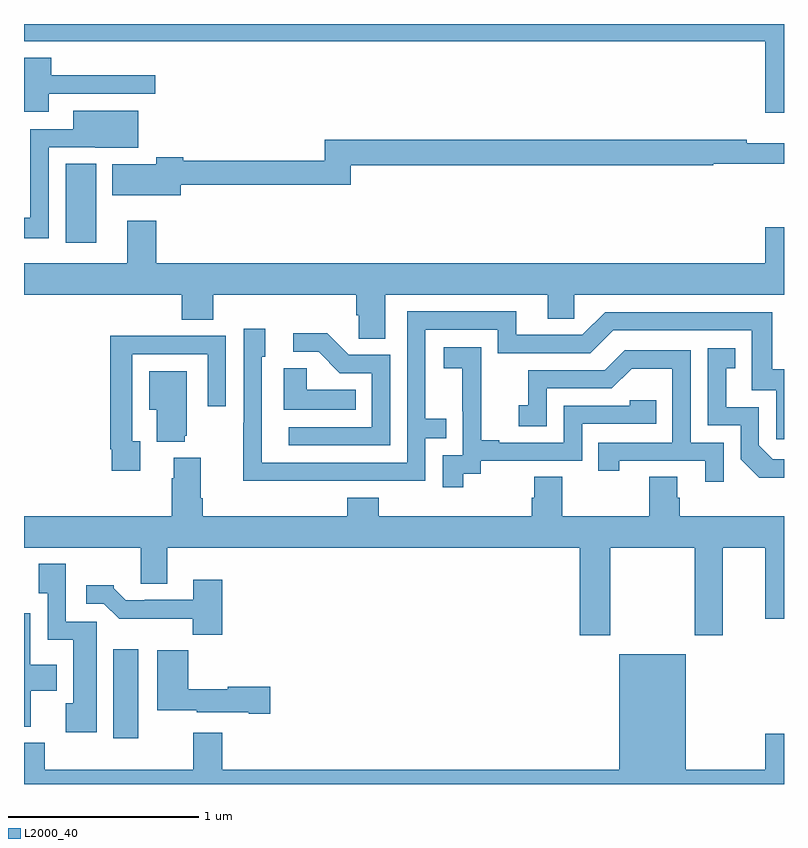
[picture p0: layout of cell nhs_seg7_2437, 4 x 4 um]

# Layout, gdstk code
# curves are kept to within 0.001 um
import gdstk
lib = gdstk.Library(unit=1e-6, precision=1e-09)
def R(c, l, rs):  # rectangles x0, y0, x1, y1
    for r in rs: c.add(gdstk.rectangle(r[:2], r[2:], *l))
def P(c, l, *ps):  # polygons
    for p in ps: c.add(gdstk.Polygon(p, *l))
L2000_40 = (2000, 40)

nhs_seg7_2437 = lib.new_cell('nhs_seg7_2437')
R(nhs_seg7_2437, L2000_40, [(269.471,1038.24,269.602,1038.709), (269.219,1040.85,269.38,1041.265)])
P(nhs_seg7_2437, L2000_40, [(273,1042),(269,1042),(269,1041.908),(272.9,1041.908),(272.9,1041.534),(273,1041.534)],
  [(269.131,1041.633),(269.692,1041.633),(269.692,1041.73),(269.144,1041.73),(269.144,1041.823),(269,1041.823),(269,1041.537),(269.131,1041.537)],
  [(269.13,1041.351),(269.376,1041.351),(269.376,1041.35),(269.602,1041.35),(269.602,1041.544),(269.258,1041.544),(269.258,1041.447),(269.034,1041.447),(269.034,1040.98),(269,1040.98),(269,1040.873),(269.13,1040.873)],
  [(269.824,1041.153),(270.719,1041.153),(270.719,1041.256),(272.627,1041.256),(272.627,1041.264),(273,1041.264),(273,1041.373),(272.804,1041.373),(272.804,1041.392),(270.583,1041.392),(270.583,1041.281),(269.837,1041.281),(269.837,1041.3),(269.695,1041.3),(269.695,1041.262),(269.465,1041.262),(269.465,1041.098),(269.824,1041.098)],
  [(270.901,1040.576),(271.757,1040.576),(271.757,1040.449),(271.896,1040.449),(271.896,1040.576),(273,1040.576),(273,1040.929),(272.9,1040.929),(272.9,1040.74),(269.696,1040.74),(269.696,1040.965),(269.543,1040.965),(269.543,1040.74),(269,1040.74),(269,1040.576),(269.831,1040.576),(269.831,1040.443),(269.996,1040.443),(269.996,1040.576),(270.749,1040.576),(270.749,1040.467),(270.762,1040.467),(270.762,1040.344),(270.901,1040.344)],
  [(270.617,1039.596),(271.113,1039.596),(271.113,1039.821),(271.223,1039.821),(271.223,1039.922),(271.113,1039.922),(271.113,1040.391),(271.494,1040.391),(271.494,1040.268),(271.98,1040.268),(272.1,1040.388),(272.829,1040.388),(272.829,1040.073),(272.958,1040.073),(272.958,1039.815),(273,1039.815),(273,1040.182),(272.938,1040.182),(272.938,1040.484),(272.058,1040.484),(271.938,1040.364),(271.591,1040.364),(271.591,1040.487),(271.017,1040.487),(271.017,1039.692),(270.252,1039.692),(270.252,1040.25),(270.271,1040.25),(270.271,1040.395),(270.156,1040.395),(270.156,1039.901),(270.154,1039.901),(270.154,1039.595)],
  [(270.927,1040.259),(270.708,1040.259),(270.595,1040.372),(270.417,1040.372),(270.417,1040.274),(270.551,1040.274),(270.662,1040.163),(270.831,1040.163),(270.831,1039.878),(270.393,1039.878),(270.393,1039.782),(270.927,1039.782)],
  [(269.611,1039.805),(269.571,1039.805),(269.571,1040.262),(269.967,1040.262),(269.967,1039.989),(270.063,1039.989),(270.063,1040.358),(269.747,1040.358),(269.747,1040.36),(269.455,1040.36),(269.455,1039.762),(269.463,1039.762),(269.463,1039.65),(269.611,1039.65)],
  [(271.312,1039.632),(271.404,1039.632),(271.404,1039.701),(271.938,1039.701),(271.938,1039.896),(272.327,1039.896),(272.327,1040.019),(272.187,1040.019),(272.187,1039.992),(271.842,1039.992),(271.842,1039.797),(271.501,1039.797),(271.501,1039.81),(271.406,1039.81),(271.406,1040.093),(271.407,1040.093),(271.407,1040.299),(271.209,1040.299),(271.209,1040.189),(271.307,1040.189),(271.307,1039.961),(271.308,1039.961),(271.308,1039.731),(271.203,1039.731),(271.203,1039.563),(271.312,1039.563)],
  [(273,1039.71),(272.94,1039.71),(272.868,1039.782),(272.868,1039.983),(272.695,1039.983),(272.695,1040.187),(272.744,1040.187),(272.744,1040.293),(272.598,1040.293),(272.598,1039.887),(272.772,1039.887),(272.772,1039.71),(272.87,1039.613),(273,1039.613)],
  [(272.682,1039.797),(272.508,1039.797),(272.508,1040.283),(272.162,1040.283),(272.057,1040.178),(271.654,1040.178),(271.654,1039.993),(271.605,1039.993),(271.605,1039.884),(271.752,1039.884),(271.752,1040.082),(272.094,1040.082),(272.198,1040.186),(272.412,1040.186),(272.412,1039.797),(272.023,1039.797),(272.023,1039.65),(272.134,1039.65),(272.134,1039.701),(272.585,1039.701),(272.585,1039.59),(272.682,1039.59)],
  [(270.746,1040.074),(270.489,1040.074),(270.489,1040.189),(270.368,1040.189),(270.368,1039.97),(270.746,1039.97)],
  [(269.846,1039.833),(269.857,1039.833),(269.857,1040.173),(269.66,1040.173),(269.66,1039.97),(269.699,1039.97),(269.699,1039.802),(269.846,1039.802)],
  [(272.085,1039.244),(272.53,1039.244),(272.53,1038.783),(272.677,1038.783),(272.677,1039.244),(272.9,1039.244),(272.9,1038.87),(273,1038.87),(273,1039.408),(272.45,1039.408),(272.45,1039.506),(272.437,1039.506),(272.437,1039.616),(272.29,1039.616),(272.29,1039.408),(271.833,1039.408),(271.833,1039.616),(271.685,1039.616),(271.685,1039.506),(271.673,1039.506),(271.673,1039.408),(270.866,1039.408),(270.866,1039.507),(270.701,1039.507),(270.701,1039.408),(269.942,1039.408),(269.942,1039.504),(269.929,1039.504),(269.929,1039.717),(269.789,1039.717),(269.789,1039.61),(269.777,1039.61),(269.777,1039.408),(269,1039.408),(269,1039.244),(269.615,1039.244),(269.615,1039.054),(269.755,1039.054),(269.755,1039.244),(271.925,1039.244),(271.925,1038.783),(272.085,1038.783)],
  [(269.383,1038.855),(269.22,1038.855),(269.22,1039.159),(269.077,1039.159),(269.077,1039.003),(269.124,1039.003),(269.124,1038.758),(269.258,1038.758),(269.258,1038.424),(269.22,1038.424),(269.22,1038.272),(269.383,1038.272)],
  [(270.044,1039.075),(269.891,1039.075),(269.891,1038.969),(269.635,1038.969),(269.635,1038.966),(269.536,1038.966),(269.472,1039.03),(269.472,1039.045),(269.328,1039.045),(269.328,1038.948),(269.421,1038.948),(269.5,1038.87),(269.889,1038.87),(269.889,1038.785),(270.044,1038.785)],
  [(269.036,1038.49),(269.173,1038.49),(269.173,1038.628),(269.034,1038.628),(269.034,1038.898),(269,1038.898),(269,1038.302),(269.036,1038.302)],
  [(270.295,1038.512),(270.072,1038.512),(270.072,1038.499),(269.864,1038.499),(269.864,1038.703),(269.702,1038.703),(269.702,1038.389),(269.91,1038.389),(269.91,1038.377),(270.182,1038.377),(270.182,1038.37),(270.295,1038.37)],
  [(273,1038.265),(272.9,1038.265),(272.9,1038.076),(272.482,1038.076),(272.482,1038.682),(272.132,1038.682),(272.132,1038.076),(270.044,1038.076),(270.044,1038.271),(269.891,1038.271),(269.891,1038.076),(269.108,1038.076),(269.108,1038.217),(269,1038.217),(269,1038),(273,1038)])

lib.write_gds('nhs_seg7_2437.gds')
